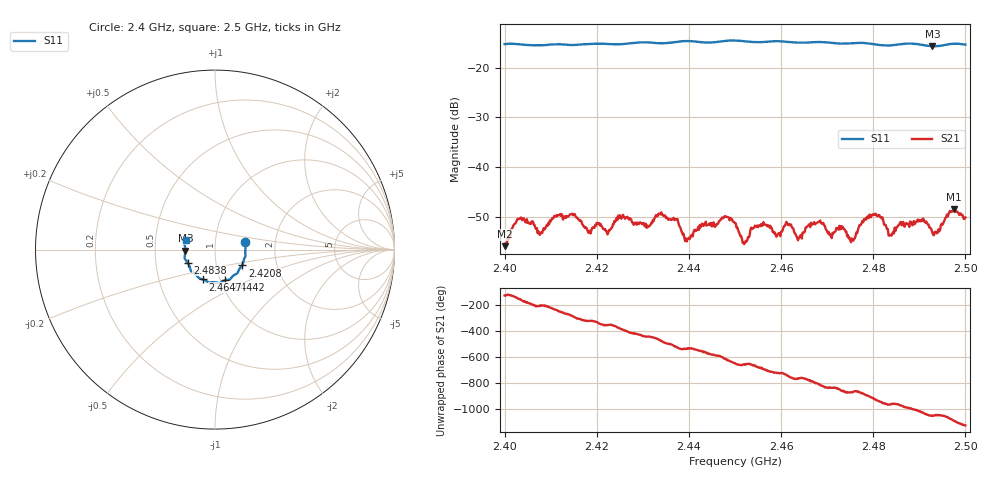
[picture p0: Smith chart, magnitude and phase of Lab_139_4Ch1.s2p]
# Hz S RI R 50
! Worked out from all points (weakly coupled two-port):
!   601 points, 2.4 GHz to 2.5 GHz, reference 50 ohm
!   highest |S21| = -48.52 dB at 2.4975 GHz (marker M1); lowest = -55.9 dB at 2.4 GHz (marker M2)
!   lowest |S11| = -15.6 dB at 2.4928 GHz (marker M3), VSWR 1.40, Z = 35.8 - j0.393 ohm
!   |S11| at or under -10 dB: start of sweep to end of sweep
!   S12 and S22 are empty: the file has one direction only
!   S11 on the Smith chart (normalised r, x): 2.4 GHz: 1.40, +0.12; 2.4208 GHz: 1.33, -0.24; 2.4442 GHz: 1.05, -0.37; 2.4647 GHz: 0.83, -0.29; 2.4838 GHz: 0.73, -0.11; 2.5 GHz: 0.72, +0.08
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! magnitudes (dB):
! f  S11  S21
! 2.4 GHz  -15.2  -55.9
! 2.4032 GHz  -15.2  -50.5
! 2.4077 GHz  -15.5  -53.7
! 2.4118 GHz  -15.2  -49.6
! 2.4167 GHz  -15.3  -51.0
! 2.4208 GHz  -15.1  -51.5
! 2.4333 GHz  -15.0  -49.5
! 2.4397 GHz  -14.6  -54.5
! 2.4442 GHz  -14.9  -51.6
! 2.45 GHz  -14.5  -51.3
! 2.4522 GHz  -14.6  -55.2
! 2.4562 GHz  -14.8  -51.1
! 2.4647 GHz  -14.9  -53.2
! 2.4667 GHz  -14.8  -51.6
! 2.4755 GHz  -15.0  -54.6
! 2.4802 GHz  -15.2  -49.6
! 2.4833 GHz  -15.5  -53.8
! 2.4838 GHz  -15.5  -53.7
! 2.4905 GHz  -15.3  -50.6
! 2.4928 GHz  -15.6  -53.2
! 2.4975 GHz  -15.1  -48.5
! 2.5 GHz  -15.3  -50.2
